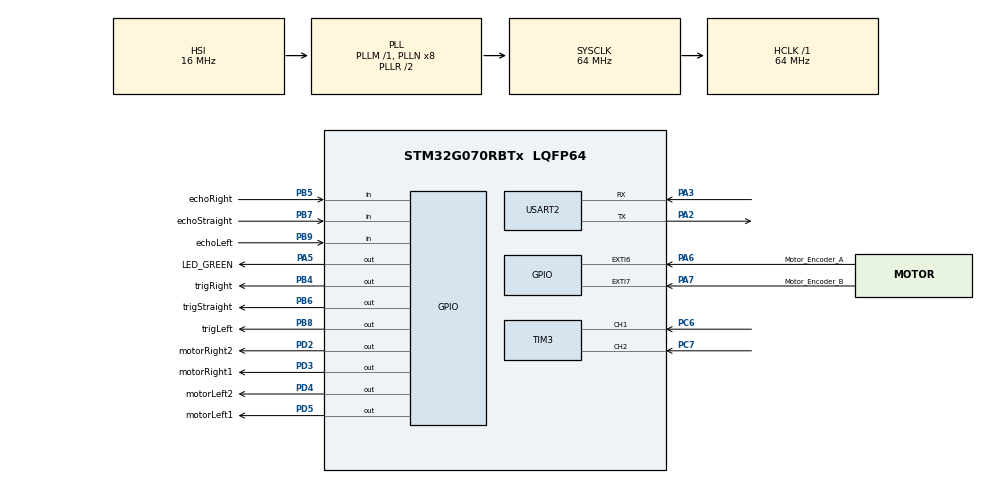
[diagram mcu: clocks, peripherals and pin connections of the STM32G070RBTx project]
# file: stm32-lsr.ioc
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Mcu.Family=STM32G0
Mcu.Name=STM32G070RBTx
Mcu.Package=LQFP64
NVIC.EXTI4_15_IRQn=true\:0\:0\:false\:false\:true\:true\:true\:true
PA13.GPIO_Label=TMS
PA13.Mode=Serial_Wire
PA13.Signal=SYS_SWDIO
PA14-BOOT0.GPIO_Label=TCK
PA14-BOOT0.Mode=Serial_Wire
PA14-BOOT0.Signal=SYS_SWCLK
PA2.GPIO_PuPd=GPIO_PULLUP
PA2.Mode=Asynchronous
PA2.Signal=USART2_TX
PA3.GPIO_PuPd=GPIO_PULLUP
PA3.Mode=Asynchronous
PA3.Signal=USART2_RX
PA5.GPIO_Label=LED_GREEN
PA5.GPIO_Speed=GPIO_SPEED_FREQ_HIGH
PA5.Signal=GPIO_Output
PA6.GPIO_Label=Motor_Encoder_A
PA6.GPIO_PuPd=GPIO_PULLDOWN
PA6.Signal=GPXTI6
PA7.GPIO_Label=Motor_Encoder_B
PA7.GPIO_PuPd=GPIO_PULLDOWN
PA7.Signal=GPXTI7
PB4.GPIO_Label=trigRight
PB4.Signal=GPIO_Output
PB5.GPIO_Label=echoRight
PB5.Signal=GPIO_Input
PB6.GPIO_Label=trigStraight
PB6.Signal=GPIO_Output
PB7.GPIO_Label=echoStraight
PB7.Signal=GPIO_Input
PB8.GPIO_Label=trigLeft
PB8.Signal=GPIO_Output
PB9.GPIO_Label=echoLeft
PB9.Signal=GPIO_Input
PC13.Mode=SYS_WakeUp1
PC13.Signal=SYS_WKUP2
PC14-OSC32_IN\ (PC14).Signal=RCC_OSC32_IN
PC15-OSC32_OUT\ (PC15).Signal=RCC_OSC32_OUT
PC6.Signal=S_TIM3_CH1
PC7.Signal=S_TIM3_CH2
PD2.GPIO_Label=motorRight2
PD2.Signal=GPIO_Output
PD3.GPIO_Label=motorRight1
PD3.Signal=GPIO_Output
PD4.GPIO_Label=motorLeft2
PD4.Signal=GPIO_Output
PD5.GPIO_Label=motorLeft1
PD5.Signal=GPIO_Output
PF0-OSC_IN\ (PF0).GPIO_Label=MCO
PF0-OSC_IN\ (PF0).Mode=HSE-External-Oscillator
PF0-OSC_IN\ (PF0).Signal=RCC_OSC_IN
PF1-OSC_OUT\ (PF1).Mode=HSE-External-Oscillator
PF1-OSC_OUT\ (PF1).Signal=RCC_OSC_OUT
ProjectManager.HeapSize=0x200
ProjectManager.StackSize=0x400
ProjectManager.TargetToolchain=STM32CubeIDE
RCC.ADCFreq_Value=64000000
RCC.AHBFreq_Value=64000000
RCC.CortexFreq_Value=64000000
RCC.EXTERNAL_CLOCK_VALUE=12288000
RCC.HCLKFreq_Value=64000000
RCC.HSE_VALUE=8000000
RCC.HSI_VALUE=16000000
RCC.LSE_VALUE=32768
RCC.SYSCLKFreq_VALUE=64000000
RCC.SYSCLKSource=RCC_SYSCLKSOURCE_PLLCLK
RCC.VCOOutputFreq_Value=128000000
SH.S_TIM3_CH1.0=TIM3_CH1,Encoder_Interface
SH.S_TIM3_CH2.0=TIM3_CH2,Encoder_Interface
TIM1.Prescaler=63
TIM3.EncoderMode=TIM_ENCODERMODE_TI12
TIM3.IC1Polarity=TIM_ICPOLARITY_FALLING
TIM3.IC2Polarity=TIM_ICPOLARITY_FALLING
USART2.VirtualMode-Asynchronous=VM_ASYNC
USART2.WordLength=WORDLENGTH_9B
VP_SYS_VS_DBSignals.Mode=DisableDeadBatterySignals
VP_TIM1_VS_ClockSourceINT.Mode=Internal
board=NUCLEO-G070RB

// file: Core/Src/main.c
/* USER CODE BEGIN Header */
/**
  ******************************************************************************
  * @file           : main.c
  * @brief          : Main program body
  ******************************************************************************
  * @attention
  *
  * Copyright (c) 2024 STMicroelectronics.
  * All rights reserved.
  *
  * This software is licensed under terms that can be found in the LICENSE file
  * in the root directory of this software component.
  * If no LICENSE file comes with this software, it is provided AS-IS.
  *
  ******************************************************************************
  */
/* USER CODE END Header */
#include "main.h"

/* USER CODE BEGIN Includes */
#include <stdio.h>
/* USER CODE END Includes */

/* USER CODE BEGIN PD */
#define WALL_DISTANCE 15 //cm

#define PULSES_STRAIGHT 100
#define PULSES_TURN 120
/* USER CODE END PD */

TIM_HandleTypeDef htim1;
TIM_HandleTypeDef htim3;

UART_HandleTypeDef huart2;

/* USER CODE BEGIN PV */
int lsr = 0;

//for distance calculation using ultrasonic sensor
uint32_t pMillis;
uint32_t Value1 = 0;
uint32_t Value2 = 0;

uint16_t DistanceLeft  = 0;  // cm
uint16_t DistanceStraight  = 0;  // cm
uint16_t DistanceRight  = 0;  // cm
int flag = 0;

// for breaking out of while loop
int stopFlag = 0;

//int count = 0;
//
//uint32_t counter_1 = 0;
//uint16_t count_1 = 0;

// for counting motor encoder pulses
int count1 = 0;
int count2 = 0;

/* USER CODE END PV */

void SystemClock_Config(void);
static void MX_GPIO_Init(void);
static void MX_USART2_UART_Init(void);
static void MX_TIM1_Init(void);
static void MX_TIM3_Init(void);

/* USER CODE BEGIN 0 */
int _write (int file, char *ptr, int len)
{
	HAL_UART_Transmit(&huart2, (uint8_t *)ptr, len, HAL_MAX_DELAY);
	return len;
}

void stop(void)
{
	HAL_GPIO_WritePin(motorLeft1_GPIO_Port, motorLeft1_Pin, GPIO_PIN_RESET);
	HAL_GPIO_WritePin(motorLeft2_GPIO_Port, motorLeft2_Pin, GPIO_PIN_RESET);
	HAL_GPIO_WritePin(motorRight1_GPIO_Port, motorRight1_Pin, GPIO_PIN_RESET);
	HAL_GPIO_WritePin(motorRight2_GPIO_Port, motorRight2_Pin, GPIO_PIN_RESET);

	count1 = 0;
	count2 = 0;
}

void forward(void)
{
	while (count1 <= PULSES_STRAIGHT)
	{
	  HAL_GPIO_WritePin(motorLeft1_GPIO_Port, motorLeft1_Pin, GPIO_PIN_SET);
	  HAL_GPIO_WritePin(motorLeft2_GPIO_Port, motorLeft2_Pin, GPIO_PIN_RESET);
	  HAL_GPIO_WritePin(motorRight1_GPIO_Port, motorRight1_Pin, GPIO_PIN_SET);
	  HAL_GPIO_WritePin(motorRight2_GPIO_Port, motorRight2_Pin, GPIO_PIN_RESET);
	}

	stop();
}

//to be corrected
void left(void)
{
	while ((count1 <= PULSES_TURN) && (count2 <= PULSES_TURN))
	{
		HAL_GPIO_WritePin(motorLeft1_GPIO_Port, motorLeft1_Pin, GPIO_PIN_SET);
		HAL_GPIO_WritePin(motorLeft2_GPIO_Port, motorLeft2_Pin, GPIO_PIN_RESET);
		HAL_GPIO_WritePin(motorRight1_GPIO_Port, motorRight1_Pin, GPIO_PIN_RESET);
		HAL_GPIO_WritePin(motorRight2_GPIO_Port, motorRight2_Pin, GPIO_PIN_SET);
	}

	stop();
}

//to be corrected
void right(void)
{
	while ((count1 <= PULSES_TURN) && (count2 <= PULSES_TURN))
	{
		HAL_GPIO_WritePin(motorLeft1_GPIO_Port, motorLeft1_Pin, GPIO_PIN_RESET);
		HAL_GPIO_WritePin(motorLeft2_GPIO_Port, motorLeft2_Pin, GPIO_PIN_SET);
		HAL_GPIO_WritePin(motorRight1_GPIO_Port, motorRight1_Pin, GPIO_PIN_SET);
		HAL_GPIO_WritePin(motorRight2_GPIO_Port, motorRight2_Pin, GPIO_PIN_RESET);
	}

	stop();
}

void turnAround(void)
{
	right();
	right();
}

/* USER CODE END 0 */

int main(void)
{

  /* MCU Configuration--------------------------------------------------------*/

  /* Reset of all peripherals, Initializes the Flash interface and the Systick. */
  HAL_Init();

  /* Configure the system clock */
  SystemClock_Config();

  /* Initialize all configured peripherals */
  MX_GPIO_Init();
  MX_USART2_UART_Init();
  MX_TIM1_Init();
  MX_TIM3_Init();
  /* USER CODE BEGIN 2 */

  HAL_TIM_Base_Start(&htim1);
  HAL_GPIO_WritePin(trigLeft_GPIO_Port, trigLeft_Pin, GPIO_PIN_RESET);  // pull the TRIG pin low
  HAL_GPIO_WritePin(trigStraight_GPIO_Port, trigStraight_Pin, GPIO_PIN_RESET);  // pull the TRIG pin low
  HAL_GPIO_WritePin(trigRight_GPIO_Port, trigRight_Pin, GPIO_PIN_RESET);  // pull the TRIG pin low

//  HAL_GPIO_WritePin(LED_GREEN_GPIO_Port, LED_GREEN_Pin, GPIO_PIN_RESET); //led will blink every time motor completes 500 pulses

//  HAL_TIM_Encoder_Start_IT(&htim3, TIM_CHANNEL_ALL); //timer 1 channel 1&2 encoder mode for motor A
//  TIM3->CNT = 0;

// counter_1 = __HAL_TIM_GET_COUNTER(&htim3);
//
// count_1 = (int16_t)counter_1; // encoder 1 pulse counter
//
// printf("%d\r\n", count_1);

  /* USER CODE END 2 */

  /* Infinite loop */
  /* USER CODE BEGIN WHILE */
  while (1)
  {

//	  counter_1 = __HAL_TIM_GET_COUNTER(&htim3);
//
//	  count_1 = (int16_t)counter_1; // encoder 1 pulse counter
//
//	  printf("%d\r\n", count_1);

	 lsr = 0;
	 count1 = 0;
	 count2 = 0;

	 // ultrasonic

	 HAL_GPIO_WritePin(trigLeft_GPIO_Port, trigLeft_Pin, GPIO_PIN_SET);  // pull the TRIG pin HIGH
	 __HAL_TIM_SET_COUNTER(&htim1, 0);
	 while (__HAL_TIM_GET_COUNTER (&htim1) < 10);  // wait for 10 us
	 HAL_GPIO_WritePin(trigLeft_GPIO_Port, trigLeft_Pin, GPIO_PIN_RESET);  // pull the TRIG pin low
	 pMillis = HAL_GetTick(); // used this to avoid infinite while loop  (for timeout)
	 // wait for the echo pin to go high
	 while (!(HAL_GPIO_ReadPin (echoLeft_GPIO_Port, echoLeft_Pin)) && pMillis + 10 >  HAL_GetTick());
	 Value1 = __HAL_TIM_GET_COUNTER (&htim1);

	 pMillis = HAL_GetTick(); // used this to avoid infinite while loop (for timeout)
	 // wait for the echo pin to go low
	 while ((HAL_GPIO_ReadPin (echoLeft_GPIO_Port, echoLeft_Pin)) && pMillis + 50 > HAL_GetTick());
	 Value2 = __HAL_TIM_GET_COUNTER (&htim1);

	 DistanceLeft = (Value2-Value1)* 0.034/2;

	 HAL_GPIO_WritePin(trigStraight_GPIO_Port, trigStraight_Pin, GPIO_PIN_SET);  // pull the TRIG pin HIGH
	 __HAL_TIM_SET_COUNTER(&htim1, 0);
	 while (__HAL_TIM_GET_COUNTER (&htim1) < 10);  // wait for 10 us
	 HAL_GPIO_WritePin(trigStraight_GPIO_Port, trigStraight_Pin, GPIO_PIN_RESET);  // pull the TRIG pin low
	 pMillis = HAL_GetTick(); // used this to avoid infinite while loop  (for timeout)
	 // wait for the echo pin to go high
	 while (!(HAL_GPIO_ReadPin (echoStraight_GPIO_Port, echoStraight_Pin)) && pMillis + 10 >  HAL_GetTick());
	 Value1 = __HAL_TIM_GET_COUNTER (&htim1);
	 pMillis = HAL_GetTick(); // used this to avoid infinite while loop (for timeout)
	 // wait for the echo pin to go low
	 while ((HAL_GPIO_ReadPin (echoStraight_GPIO_Port, echoStraight_Pin)) && pMillis + 50 > HAL_GetTick());
	 Value2 = __HAL_TIM_GET_COUNTER (&htim1);
	 DistanceStraight = (Value2-Value1)* 0.034/2;

	 HAL_GPIO_WritePin(trigRight_GPIO_Port, trigRight_Pin, GPIO_PIN_SET);  // pull the TRIG pin HIGH
	 __HAL_TIM_SET_COUNTER(&htim1, 0);
	 while (__HAL_TIM_GET_COUNTER (&htim1) < 10);  // wait for 10 us
	 HAL_GPIO_WritePin(trigRight_GPIO_Port, trigRight_Pin, GPIO_PIN_RESET);  // pull the TRIG pin low
	 pMillis = HAL_GetTick(); // used this to avoid infinite while loop  (for timeout)
	 // wait for the echo pin to go high
	 while (!(HAL_GPIO_ReadPin (echoRight_GPIO_Port, echoRight_Pin)) && pMillis + 10 >  HAL_GetTick());
	 Value1 = __HAL_TIM_GET_COUNTER (&htim1);
	 pMillis = HAL_GetTick(); // used this to avoid infinite while loop (for timeout)
	 // wait for the echo pin to go low
	 while ((HAL_GPIO_ReadPin (echoRight_GPIO_Port, echoRight_Pin)) && pMillis + 50 > HAL_GetTick());
	 Value2 = __HAL_TIM_GET_COUNTER (&htim1);
	 DistanceRight = (Value2-Value1)* 0.034/2;

	 printf("%d, %d, %d\n", DistanceLeft, DistanceStraight, DistanceRight);

	 if (DistanceLeft < WALL_DISTANCE) {lsr = 1;}
	 else {lsr = 0;}

	 if (DistanceStraight < WALL_DISTANCE) {lsr = (lsr << 1) | 1;}
	 else {lsr = lsr << 1;}

	 if (DistanceRight < WALL_DISTANCE) {lsr = (lsr << 1) | 1;}
	 else {lsr = lsr << 1;}

	 // LSR logic
	 switch (lsr)
	 {
		 case 0b000:
			 stop();
			 stopFlag = 1;
			 break;
		 case 0b001:
			 left();
			 forward();
			 break;
		 case 0b010:
			 left();
			 forward();
			 break;
		 case 0b011:
			 left();
			 forward();
			 break;
		 case 0b100:
			 forward();
			 break;
		 case 0b101:
			 forward();
			 break;
		 case 0b110:
			 right();
			 forward();
			 break;
		 case 0b111:
			 turnAround();
			 forward();
			 break;
		 default:
			 forward();
			 break;
	 }

//	 if (stopFlag == 1)
//	 {
//		 break;
//	 }

	 HAL_Delay(500);
    /* USER CODE END WHILE */

  }
}

void SystemClock_Config(void)
{
  RCC_OscInitTypeDef RCC_OscInitStruct = {0};
  RCC_ClkInitTypeDef RCC_ClkInitStruct = {0};

  /** Configure the main internal regulator output voltage
  */
  HAL_PWREx_ControlVoltageScaling(PWR_REGULATOR_VOLTAGE_SCALE1);

  /** Initializes the RCC Oscillators according to the specified parameters
  * in the RCC_OscInitTypeDef structure.
  */
  RCC_OscInitStruct.OscillatorType = RCC_OSCILLATORTYPE_HSI;
  RCC_OscInitStruct.HSIState = RCC_HSI_ON;
  RCC_OscInitStruct.HSIDiv = RCC_HSI_DIV1;
  RCC_OscInitStruct.HSICalibrationValue = RCC_HSICALIBRATION_DEFAULT;
  RCC_OscInitStruct.PLL.PLLState = RCC_PLL_ON;
  RCC_OscInitStruct.PLL.PLLSource = RCC_PLLSOURCE_HSI;
  RCC_OscInitStruct.PLL.PLLM = RCC_PLLM_DIV1;
  RCC_OscInitStruct.PLL.PLLN = 8;
  RCC_OscInitStruct.PLL.PLLP = RCC_PLLP_DIV2;
  RCC_OscInitStruct.PLL.PLLR = RCC_PLLR_DIV2;
  if (HAL_RCC_OscConfig(&RCC_OscInitStruct) != HAL_OK)
  {
    Error_Handler();
  }

  /** Initializes the CPU, AHB and APB buses clocks
  */
  RCC_ClkInitStruct.ClockType = RCC_CLOCKTYPE_HCLK|RCC_CLOCKTYPE_SYSCLK
                              |RCC_CLOCKTYPE_PCLK1;
  RCC_ClkInitStruct.SYSCLKSource = RCC_SYSCLKSOURCE_PLLCLK;
  RCC_ClkInitStruct.AHBCLKDivider = RCC_SYSCLK_DIV1;
  RCC_ClkInitStruct.APB1CLKDivider = RCC_HCLK_DIV1;

  if (HAL_RCC_ClockConfig(&RCC_ClkInitStruct, FLASH_LATENCY_2) != HAL_OK)
  {
    Error_Handler();
  }
}

static void MX_TIM1_Init(void)
{

  TIM_ClockConfigTypeDef sClockSourceConfig = {0};
  TIM_MasterConfigTypeDef sMasterConfig = {0};

  htim1.Instance = TIM1;
  htim1.Init.Prescaler = 63;
  htim1.Init.CounterMode = TIM_COUNTERMODE_UP;
  htim1.Init.Period = 65535;
  htim1.Init.ClockDivision = TIM_CLOCKDIVISION_DIV1;
  htim1.Init.RepetitionCounter = 0;
  htim1.Init.AutoReloadPreload = TIM_AUTORELOAD_PRELOAD_DISABLE;
  if (HAL_TIM_Base_Init(&htim1) != HAL_OK)
  {
    Error_Handler();
  }
  sClockSourceConfig.ClockSource = TIM_CLOCKSOURCE_INTERNAL;
  if (HAL_TIM_ConfigClockSource(&htim1, &sClockSourceConfig) != HAL_OK)
  {
    Error_Handler();
  }
  sMasterConfig.MasterOutputTrigger = TIM_TRGO_RESET;
  sMasterConfig.MasterOutputTrigger2 = TIM_TRGO2_RESET;
  sMasterConfig.MasterSlaveMode = TIM_MASTERSLAVEMODE_DISABLE;
  if (HAL_TIMEx_MasterConfigSynchronization(&htim1, &sMasterConfig) != HAL_OK)
  {
    Error_Handler();
  }

}

static void MX_TIM3_Init(void)
{

  TIM_Encoder_InitTypeDef sConfig = {0};
  TIM_MasterConfigTypeDef sMasterConfig = {0};

  htim3.Instance = TIM3;
  htim3.Init.Prescaler = 0;
  htim3.Init.CounterMode = TIM_COUNTERMODE_UP;
  htim3.Init.Period = 65535;
  htim3.Init.ClockDivision = TIM_CLOCKDIVISION_DIV1;
  htim3.Init.AutoReloadPreload = TIM_AUTORELOAD_PRELOAD_DISABLE;
  sConfig.EncoderMode = TIM_ENCODERMODE_TI12;
  sConfig.IC1Polarity = TIM_ICPOLARITY_FALLING;
  sConfig.IC1Selection = TIM_ICSELECTION_DIRECTTI;
  sConfig.IC1Prescaler = TIM_ICPSC_DIV1;
  sConfig.IC1Filter = 0;
  sConfig.IC2Polarity = TIM_ICPOLARITY_FALLING;
  sConfig.IC2Selection = TIM_ICSELECTION_DIRECTTI;
  sConfig.IC2Prescaler = TIM_ICPSC_DIV1;
  sConfig.IC2Filter = 0;
  if (HAL_TIM_Encoder_Init(&htim3, &sConfig) != HAL_OK)
  {
    Error_Handler();
  }
  sMasterConfig.MasterOutputTrigger = TIM_TRGO_RESET;
  sMasterConfig.MasterSlaveMode = TIM_MASTERSLAVEMODE_DISABLE;
  if (HAL_TIMEx_MasterConfigSynchronization(&htim3, &sMasterConfig) != HAL_OK)
  {
    Error_Handler();
  }

}

static void MX_USART2_UART_Init(void)
{

  huart2.Instance = USART2;
  huart2.Init.BaudRate = 115200;
  huart2.Init.WordLength = UART_WORDLENGTH_9B;
  huart2.Init.StopBits = UART_STOPBITS_1;
  huart2.Init.Parity = UART_PARITY_NONE;
  huart2.Init.Mode = UART_MODE_TX_RX;
  huart2.Init.HwFlowCtl = UART_HWCONTROL_NONE;
  huart2.Init.OverSampling = UART_OVERSAMPLING_16;
  huart2.Init.OneBitSampling = UART_ONE_BIT_SAMPLE_DISABLE;
  huart2.Init.ClockPrescaler = UART_PRESCALER_DIV1;
  huart2.AdvancedInit.AdvFeatureInit = UART_ADVFEATURE_NO_INIT;
  if (HAL_UART_Init(&huart2) != HAL_OK)
  {
    Error_Handler();
  }
  if (HAL_UARTEx_SetTxFifoThreshold(&huart2, UART_TXFIFO_THRESHOLD_1_8) != HAL_OK)
  {
    Error_Handler();
  }
  if (HAL_UARTEx_SetRxFifoThreshold(&huart2, UART_RXFIFO_THRESHOLD_1_8) != HAL_OK)
  {
    Error_Handler();
  }
  if (HAL_UARTEx_DisableFifoMode(&huart2) != HAL_OK)
  {
    Error_Handler();
  }

}

static void MX_GPIO_Init(void)
{
  GPIO_InitTypeDef GPIO_InitStruct = {0};

  /* GPIO Ports Clock Enable */
  __HAL_RCC_GPIOC_CLK_ENABLE();
  __HAL_RCC_GPIOF_CLK_ENABLE();
  __HAL_RCC_GPIOA_CLK_ENABLE();
  __HAL_RCC_GPIOD_CLK_ENABLE();
  __HAL_RCC_GPIOB_CLK_ENABLE();

  /*Configure GPIO pin Output Level */
  HAL_GPIO_WritePin(LED_GREEN_GPIO_Port, LED_GREEN_Pin, GPIO_PIN_RESET);

  /*Configure GPIO pin Output Level */
  HAL_GPIO_WritePin(GPIOD, motorRight2_Pin|motorRight1_Pin|motorLeft2_Pin|motorLeft1_Pin, GPIO_PIN_RESET);

  /*Configure GPIO pin Output Level */
  HAL_GPIO_WritePin(GPIOB, trigRight_Pin|trigStraight_Pin|trigLeft_Pin, GPIO_PIN_RESET);

  /*Configure GPIO pin : LED_GREEN_Pin */
  GPIO_InitStruct.Pin = LED_GREEN_Pin;
  GPIO_InitStruct.Mode = GPIO_MODE_OUTPUT_PP;
  GPIO_InitStruct.Pull = GPIO_NOPULL;
  GPIO_InitStruct.Speed = GPIO_SPEED_FREQ_HIGH;
  HAL_GPIO_Init(LED_GREEN_GPIO_Port, &GPIO_InitStruct);

  /*Configure GPIO pins : Motor_Encoder_A_Pin Motor_Encoder_B_Pin */
  GPIO_InitStruct.Pin = Motor_Encoder_A_Pin|Motor_Encoder_B_Pin;
  GPIO_InitStruct.Mode = GPIO_MODE_IT_RISING;
  GPIO_InitStruct.Pull = GPIO_PULLDOWN;
  HAL_GPIO_Init(GPIOA, &GPIO_InitStruct);

  /*Configure GPIO pins : motorRight2_Pin motorRight1_Pin motorLeft2_Pin motorLeft1_Pin */
  GPIO_InitStruct.Pin = motorRight2_Pin|motorRight1_Pin|motorLeft2_Pin|motorLeft1_Pin;
  GPIO_InitStruct.Mode = GPIO_MODE_OUTPUT_PP;
  GPIO_InitStruct.Pull = GPIO_NOPULL;
  GPIO_InitStruct.Speed = GPIO_SPEED_FREQ_LOW;
  HAL_GPIO_Init(GPIOD, &GPIO_InitStruct);

  /*Configure GPIO pins : trigRight_Pin trigStraight_Pin trigLeft_Pin */
  GPIO_InitStruct.Pin = trigRight_Pin|trigStraight_Pin|trigLeft_Pin;
  GPIO_InitStruct.Mode = GPIO_MODE_OUTPUT_PP;
  GPIO_InitStruct.Pull = GPIO_NOPULL;
  GPIO_InitStruct.Speed = GPIO_SPEED_FREQ_LOW;
  HAL_GPIO_Init(GPIOB, &GPIO_InitStruct);

  /*Configure GPIO pins : echoRight_Pin echoStraight_Pin echoLeft_Pin */
  GPIO_InitStruct.Pin = echoRight_Pin|echoStraight_Pin|echoLeft_Pin;
  GPIO_InitStruct.Mode = GPIO_MODE_INPUT;
  GPIO_InitStruct.Pull = GPIO_NOPULL;
  HAL_GPIO_Init(GPIOB, &GPIO_InitStruct);

  /* EXTI interrupt init*/
  HAL_NVIC_SetPriority(EXTI4_15_IRQn, 0, 0);
  HAL_NVIC_EnableIRQ(EXTI4_15_IRQn);

}

/* USER CODE BEGIN 4 */
void HAL_GPIO_EXTI_Rising_Callback(uint16_t GPIO_Pin)
{

  if (GPIO_Pin == Motor_Encoder_A_Pin)
  {
	  if(HAL_GPIO_ReadPin(Motor_Encoder_A_GPIO_Port, Motor_Encoder_A_Pin))
		  count1++;

//	  printf("Count1: %d\r\n", count1);
  }

  if (GPIO_Pin == Motor_Encoder_B_Pin)
	{
	  if(HAL_GPIO_ReadPin(Motor_Encoder_B_GPIO_Port, Motor_Encoder_B_Pin))
		  count2++;

//	  printf("Count2: %d\r\n", count2);
	}

//  if (count1 >= PULSES_STRAIGHT)
//  {
//	  HAL_GPIO_WritePin(LED_GREEN_GPIO_Port, LED_GREEN_Pin, GPIO_PIN_SET);
//	  count1 = 0;
//	  stop();
//
//	  //delay
//	  for(int i=0; i<1000000; i++)
//	  {__NOP();}
//
//
//	  HAL_GPIO_WritePin(LED_GREEN_GPIO_Port, LED_GREEN_Pin, GPIO_PIN_RESET);
//  }
//
//  if (count2 >= PULSES_STRAIGHT)
//    {
//	  HAL_GPIO_WritePin(LED_GREEN_GPIO_Port, LED_GREEN_Pin, GPIO_PIN_SET);
//	  count2 = 0;
//	  stop();
//
//	  //delay
//	  for(int i =0; i<1000000; i++)
//	  {__NOP();}
//
//
//	  HAL_GPIO_WritePin(LED_GREEN_GPIO_Port, LED_GREEN_Pin, GPIO_PIN_RESET);
//    }
}
//void HAL_GPIO_EXTI_Rising_Callback(uint16_t GPIO_Pin)
//{
//  static uint8_t counter = 0;
//
//  if(GPIO_Pin == Motor_Encoder_A_Pin)
//  {
//      if(counter == 0)
//      {
//    	  counter++;
//      }
//
//      else if(counter == 1)
//      {
//         counter = 0;
//      }
//  }
//
//  else if (GPIO_Pin == Motor_Encoder_B_Pin)
//  {
//	  if(HAL_GPIO_ReadPin(Motor_Encoder_A_GPIO_Port, Motor_Encoder_A_Pin))
//		  count++;
//
//	  printf("%d\r\n", count);
//  }
//}
/* USER CODE END 4 */

void Error_Handler(void)
{
  __disable_irq();
  while (1)
  {
  }
}
